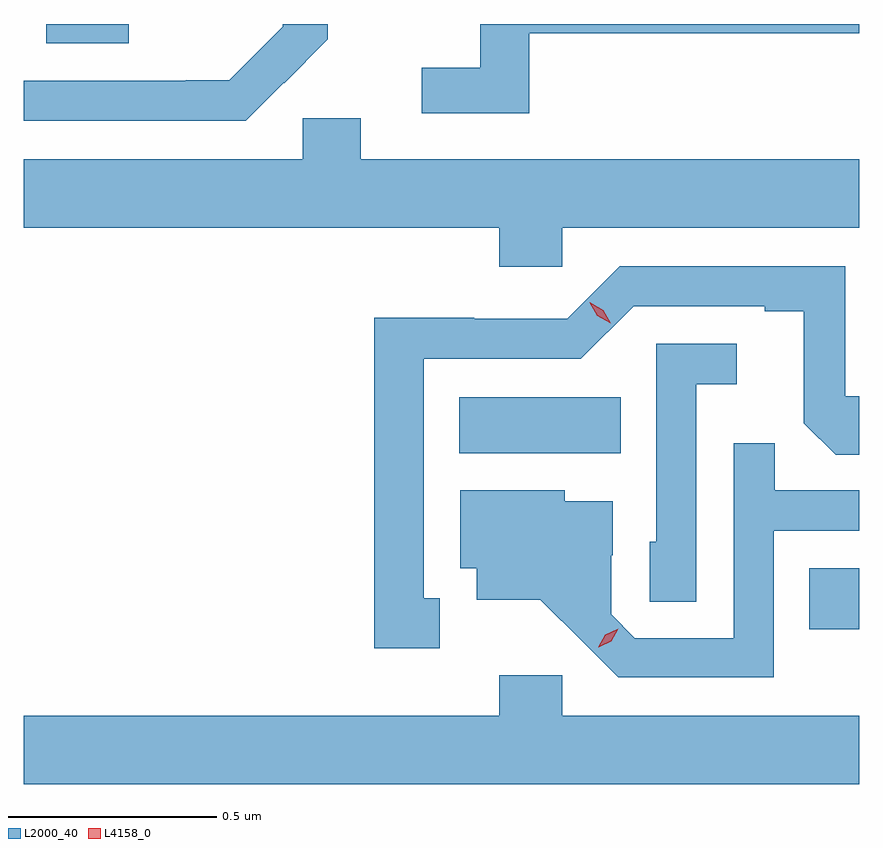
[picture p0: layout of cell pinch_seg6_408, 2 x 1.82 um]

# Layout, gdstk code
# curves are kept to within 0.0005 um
import gdstk
lib = gdstk.Library(unit=1e-6, precision=1e-09)
def R(c, l, rs):  # rectangles x0, y0, x1, y1
    for r in rs: c.add(gdstk.rectangle(r[:2], r[2:], *l))
def P(c, l, *ps):  # polygons
    for p in ps: c.add(gdstk.Polygon(p, *l))
L2000_40 = (2000, 40)
L4158_0 = (4158, 0)

pinch_seg6_408 = lib.new_cell('pinch_seg6_408')
R(pinch_seg6_408, L2000_40, [(684.994,933.054,685.113,933.201), (684.155,933.476,684.542,933.61), (683.166,934.458,683.364,934.504)])
P(pinch_seg6_408, L2000_40, [(684.323,934.482),(685.113,934.482),(685.113,934.504),(684.206,934.504),(684.206,934.399),(684.066,934.399),(684.066,934.29),(684.323,934.29)],
  [(683.735,934.363),(683.736,934.362),(683.841,934.467),(683.841,934.504),(683.733,934.504),(683.733,934.497),(683.605,934.369),(683.501,934.369),(683.501,934.368),(683.113,934.368),(683.113,934.272),(683.644,934.272)],
  [(684.402,934.016),(685.113,934.016),(685.113,934.18),(683.92,934.18),(683.92,934.278),(683.781,934.278),(683.781,934.18),(683.113,934.18),(683.113,934.016),(684.251,934.016),(684.251,933.923),(684.402,933.923)],
  [(684.109,933.129),(684.07,933.129),(684.07,933.702),(684.447,933.702),(684.573,933.828),(684.887,933.828),(684.887,933.816),(684.981,933.816),(684.981,933.548),(685.057,933.472),(685.113,933.472),(685.113,933.612),(685.08,933.612),(685.08,933.924),(684.54,933.924),(684.414,933.798),(684.192,933.798),(684.192,933.8),(683.952,933.8),(683.952,933.009),(684.109,933.009)],
  [(684.723,933.641),(684.82,933.641),(684.82,933.738),(684.627,933.738),(684.627,933.264),(684.612,933.264),(684.612,933.121),(684.723,933.121)],
  [(684.909,933.291),(685.113,933.291),(685.113,933.387),(684.911,933.387),(684.911,933.5),(684.813,933.5),(684.813,933.033),(684.576,933.033),(684.519,933.09),(684.519,933.232),(684.523,933.232),(684.523,933.361),(684.408,933.361),(684.408,933.388),(684.158,933.388),(684.158,933.201),(684.197,933.201),(684.197,933.125),(684.349,933.125),(684.536,932.94),(684.909,932.94)],
  [(685.113,932.848),(684.402,932.848),(684.402,932.944),(684.251,932.944),(684.251,932.848),(683.113,932.848),(683.113,932.684),(685.113,932.684)])
P(pinch_seg6_408, L4158_0, [(684.488,933.011),(684.488,933.011),(684.505,933.041),(684.536,933.056),(684.536,933.056),(684.536,933.056),(684.519,933.026),(684.489,933.011)],
  [(684.518,933.787),(684.486,933.805),(684.468,933.837),(684.468,933.838),(684.468,933.838),(684.5,933.819),(684.518,933.787),(684.518,933.787)])

lib.write_gds('pinch_seg6_408.gds')
